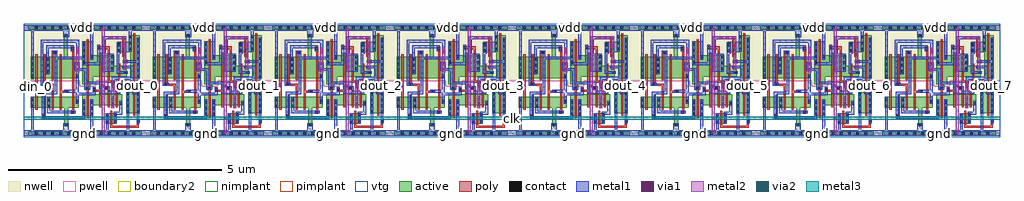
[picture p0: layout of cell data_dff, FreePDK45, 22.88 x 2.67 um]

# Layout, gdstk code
import gdstk
lib = gdstk.Library(unit=1e-6, precision=5e-10)
def R(c, l, rs):  # rectangles x0, y0, x1, y1
    for r in rs: c.add(gdstk.rectangle(r[:2], r[2:], *l))
def A(c, l, x, y, w, h, nx, ny, dx, dy):  # array of equal rectangles
    R(c, l, [(x+i*dx, y+j*dy, x+i*dx+w, y+j*dy+h) for i in range(nx) for j in range(ny)])
def P(c, l, *ps):  # polygons
    for p in ps: c.add(gdstk.Polygon(p, *l))
active = (1, 0)
pwell = (2, 0)
nwell = (3, 0)
nimplant = (4, 0)
pimplant = (5, 0)
vtg = (6, 0)
poly = (9, 0)
contact = (10, 0)
metal1 = (11, 0)
via1 = (12, 0)
metal2 = (13, 0)
via2 = (14, 0)
metal3 = (15, 0)
boundary2 = (239, 0)

dff = lib.new_cell('dff')
A(dff, active, 0.2675, 0.6, 0.05, 0.25, 4, 1, 0.19, 0)
A(dff, active, 0.3175, 0.6, 0.14, 0.25, 3, 1, 0.19, 0)
A(dff, active, 1.7675, 0.6575, 0.05, 0.25, 3, 1, 0.19, 0)
A(dff, active, 0.2675, 1.2925, 0.05, 0.5, 4, 1, 0.19, 0)
A(dff, active, 0.3175, 1.2925, 0.14, 0.5, 3, 1, 0.19, 0)
R(dff, active, [(0.1,-0.045,2.76,0.045), (1.9175,0.2225,2.0225,0.4725), (2.0225,0.2225,2.0725,0.4725), (2.0725,0.2225,2.1775,0.4725), (1.3675,0.4075,1.4725,0.9075), (1.4725,0.4075,1.5225,0.9075), (2.4025,0.4625,2.5575,0.9625), (2.5575,0.4625,2.6075,0.9625), (2.6075,0.4625,2.7125,0.9625), (0.1625,0.6,0.2675,0.85), (1.1325,0.6,1.1825,0.85), (1.1825,0.6,1.2875,0.85), (1.8175,0.6575,1.9575,0.9075), (2.0075,0.6575,2.1475,0.9075), (2.1975,0.6575,2.3075,0.9075), (1.3675,1.15,1.4725,2.15), (1.4725,1.15,1.5225,2.15), (0.1625,1.2925,0.2675,1.7925), (1.1325,1.2925,1.1825,1.7925), (1.1825,1.2925,1.2875,1.7925), (2.5575,1.2925,2.6075,2.2925), (2.6075,1.2925,2.7125,2.2925), (1.7675,1.3275,1.8175,1.8275), (1.8175,1.3275,1.9575,1.8275), (1.9575,1.3275,2.0075,1.8275), (2.2075,1.3275,2.2575,1.5775), (2.2575,1.3275,2.4075,1.5775), (2.1925,1.8925,2.2975,2.1425), (2.2975,1.8925,2.3475,2.1425), (0.1,2.425,2.76,2.515)])
P(dff, active, [(0.8875,1.2925),(0.8875,1.7925),(0.9375,1.7925),(0.9375,2.3225),(1.0275,2.3225),(1.0275,1.7925),(1.1325,1.7925),(1.1325,1.2925)],
  [(1.5225,1.15),(1.5225,2.15),(1.6275,2.15),(1.6275,1.8275),(1.7675,1.8275),(1.7675,1.3275),(1.6275,1.3275),(1.6275,1.15)],
  [(2.0075,1.3275),(2.0075,1.8275),(2.1125,1.8275),(2.1125,1.5775),(2.2075,1.5775),(2.2075,1.3275)],
  [(2.4875,1.2925),(2.4875,1.8925),(2.3475,1.8925),(2.3475,2.1425),(2.4525,2.1425),(2.4525,2.2925),(2.5575,2.2925),(2.5575,1.2925)],
  [(0.9475,0.165),(0.9475,0.6),(0.8875,0.6),(0.8875,0.85),(1.1325,0.85),(1.1325,0.6),(1.0375,0.6),(1.0375,0.165)],
  [(1.5225,0.4075),(1.5225,0.9075),(1.7675,0.9075),(1.7675,0.6575),(1.6275,0.6575),(1.6275,0.4075)])
P(dff, pwell, [(0,-0.1),(0,1.235),(1.3125,1.235),(1.3125,1.095),(1.6825,1.095),(1.6825,1.235),(2.86,1.235),(2.86,-0.1)])
P(dff, nwell, [(1.3125,1.095),(1.3125,1.235),(0,1.235),(0,2.57),(2.86,2.57),(2.86,1.235),(1.6825,1.235),(1.6825,1.095)])
A(dff, nimplant, 0.2675, 0.6, 0.05, 0.25, 4, 1, 0.19, 0)
A(dff, nimplant, 0.3175, 0.6, 0.14, 0.25, 3, 1, 0.19, 0)
A(dff, nimplant, 1.7675, 0.6575, 0.05, 0.25, 3, 1, 0.19, 0)
R(dff, nimplant, [(1.9175,0.2225,2.0225,0.4725), (2.0225,0.2225,2.0725,0.4725), (2.0725,0.2225,2.1775,0.4725), (1.3675,0.4075,1.4725,0.9075), (1.4725,0.4075,1.5225,0.9075), (2.4025,0.4625,2.5575,0.9625), (2.5575,0.4625,2.6075,0.9625), (2.6075,0.4625,2.7125,0.9625), (0.1625,0.6,0.2675,0.85), (1.1325,0.6,1.1825,0.85), (1.1825,0.6,1.2875,0.85), (1.8175,0.6575,1.9575,0.9075), (2.0075,0.6575,2.1475,0.9075), (2.1975,0.6575,2.3075,0.9075), (0.1,2.425,2.76,2.515)])
P(dff, nimplant, [(0.9475,0.165),(0.9475,0.6),(0.8875,0.6),(0.8875,0.85),(1.1325,0.85),(1.1325,0.6),(1.0375,0.6),(1.0375,0.165)],
  [(1.5225,0.4075),(1.5225,0.9075),(1.7675,0.9075),(1.7675,0.6575),(1.6275,0.6575),(1.6275,0.4075)])
A(dff, pimplant, 0.2675, 1.2925, 0.05, 0.5, 4, 1, 0.19, 0)
A(dff, pimplant, 0.3175, 1.2925, 0.14, 0.5, 3, 1, 0.19, 0)
R(dff, pimplant, [(0.1,-0.045,2.76,0.045), (1.3675,1.15,1.4725,2.15), (1.4725,1.15,1.5225,2.15), (0.1625,1.2925,0.2675,1.7925), (1.1325,1.2925,1.1825,1.7925), (1.1825,1.2925,1.2875,1.7925), (2.5575,1.2925,2.6075,2.2925), (2.6075,1.2925,2.7125,2.2925), (1.7675,1.3275,1.8175,1.8275), (1.8175,1.3275,1.9575,1.8275), (1.9575,1.3275,2.0075,1.8275), (2.2075,1.3275,2.2575,1.5775), (2.2575,1.3275,2.4075,1.5775), (2.1925,1.8925,2.2975,2.1425), (2.2975,1.8925,2.3475,2.1425)])
P(dff, pimplant, [(0.8875,1.2925),(0.8875,1.7925),(0.9375,1.7925),(0.9375,2.3225),(1.0275,2.3225),(1.0275,1.7925),(1.1325,1.7925),(1.1325,1.2925)],
  [(1.5225,1.15),(1.5225,2.15),(1.6275,2.15),(1.6275,1.8275),(1.7675,1.8275),(1.7675,1.3275),(1.6275,1.3275),(1.6275,1.15)],
  [(2.0075,1.3275),(2.0075,1.8275),(2.1125,1.8275),(2.1125,1.5775),(2.2075,1.5775),(2.2075,1.3275)],
  [(2.4875,1.2925),(2.4875,1.8925),(2.3475,1.8925),(2.3475,2.1425),(2.4525,2.1425),(2.4525,2.2925),(2.5575,2.2925),(2.5575,1.2925)])
R(dff, vtg, [(0,-0.1,2.86,2.57)])
A(dff, poly, 0.2675, 0.6, 0.05, 0.25, 4, 1, 0.19, 0)
A(dff, poly, 1.7675, 0.6025, 0.05, 0.055, 3, 1, 0.19, 0)
A(dff, poly, 1.7675, 0.6575, 0.05, 0.25, 3, 1, 0.19, 0)
A(dff, poly, 0.2675, 1.2925, 0.05, 0.5, 4, 1, 0.19, 0)
R(dff, poly, [(2.0225,0.2225,2.0725,0.4725), (1.4725,0.3525,1.5225,0.4075), (1.4725,0.4075,1.5225,0.9075), (2.5575,0.4075,2.6075,0.4625), (2.5575,0.4625,2.6075,0.9625), (2.0225,0.4725,2.0725,0.5275), (0.2675,0.545,0.3175,0.6), (0.6475,0.545,0.6975,0.6), (0.8375,0.545,0.8875,0.6), (1.1325,0.6,1.1825,0.85), (0.4575,0.85,0.5075,0.905), (1.1325,0.85,1.1825,1.2925), (1.4725,1.15,1.5225,2.15), (0.6475,1.2375,0.6975,1.2925), (1.1325,1.2925,1.1825,1.7925), (2.5575,1.2925,2.6075,2.2925), (1.7675,1.3275,1.8175,1.8275), (1.9575,1.3275,2.0075,1.8275), (2.2075,1.3275,2.2575,1.5775), (2.2075,1.5775,2.2575,1.6325), (0.2675,1.7925,0.3175,1.8475), (0.4575,1.7925,0.5075,1.8475), (0.8375,1.7925,0.8875,1.8475), (1.7675,1.8275,1.8175,1.8825), (2.2975,1.8925,2.3475,2.1425), (2.2975,2.1425,2.3475,2.1975), (1.4725,2.15,1.5225,2.205), (2.5575,2.2925,2.6075,2.3475)])
P(dff, poly, [(0.2675,0.85),(0.2675,1.0675),(0.2425,1.0675),(0.2425,1.1425),(0.2675,1.1425),(0.2675,1.2925),(0.3175,1.2925),(0.3175,0.85)],
  [(0.4125,0.365),(0.4125,0.44),(0.4575,0.44),(0.4575,0.6),(0.5075,0.6),(0.5075,0.365)],
  [(0.6475,1.7925),(0.6475,1.9325),(0.7525,1.9325),(0.7525,1.8575),(0.6975,1.8575),(0.6975,1.7925)],
  [(0.6475,0.85),(0.6475,1.1125),(0.4325,1.1125),(0.4325,1.1875),(0.4575,1.1875),(0.4575,1.2925),(0.5075,1.2925),(0.5075,1.1625),(0.6975,1.1625),(0.6975,0.85)],
  [(0.8375,0.85),(0.8375,1.2925),(0.8875,1.2925),(0.8875,0.995),(0.9725,0.995),(0.9725,1.02),(1.0475,1.02),(1.0475,0.945),(0.8875,0.945),(0.8875,0.85)],
  [(1.1325,1.7925),(1.1325,1.9525),(1.0925,1.9525),(1.0925,2.0275),(1.1825,2.0275),(1.1825,1.7925)],
  [(1.1075,0.46),(1.1075,0.535),(1.1325,0.535),(1.1325,0.6),(1.1825,0.6),(1.1825,0.46)],
  [(1.4725,0.9075),(1.4725,1.01),(1.4425,1.01),(1.4425,1.085),(1.4725,1.085),(1.4725,1.15),(1.5225,1.15),(1.5225,0.9075)],
  [(1.7675,0.9075),(1.7675,0.9725),(1.6075,0.9725),(1.6075,1.0475),(1.6825,1.0475),(1.6825,1.0225),(1.7675,1.0225),(1.7675,1.3275),(1.8175,1.3275),(1.8175,0.9075)],
  [(1.9575,1.8275),(1.9575,1.9675),(1.7125,1.9675),(1.7125,2.0425),(2.0075,2.0425),(2.0075,1.8275)],
  [(1.9575,0.9075),(1.9575,1.0225),(1.9025,1.0225),(1.9025,1.0975),(2.0075,1.0975),(2.0075,0.9075)],
  [(2.3425,1.6425),(2.3425,1.7925),(2.2975,1.7925),(2.2975,1.8925),(2.3475,1.8925),(2.3475,1.8425),(2.3925,1.8425),(2.3925,1.7175),(2.4175,1.7175),(2.4175,1.6425)],
  [(2.2075,1.1225),(2.2075,1.3275),(2.2575,1.3275),(2.2575,1.1975),(2.2925,1.1975),(2.2925,1.1225)],
  [(2.0225,0.1225),(2.0225,0.2225),(2.0725,0.2225),(2.0725,0.1725),(2.6375,0.1725),(2.6375,0.3225),(2.7125,0.3225),(2.7125,0.2475),(2.6875,0.2475),(2.6875,0.1225)],
  [(2.1475,0.9075),(2.1475,0.9875),(2.0825,0.9875),(2.0825,1.1825),(1.9575,1.1825),(1.9575,1.3275),(2.0075,1.3275),(2.0075,1.2325),(2.1325,1.2325),(2.1325,1.0375),(2.1975,1.0375),(2.1975,0.9075)],
  [(2.5575,0.9625),(2.5575,1.0875),(2.3975,1.0875),(2.3975,1.1625),(2.4725,1.1625),(2.4725,1.1375),(2.5575,1.1375),(2.5575,1.2925),(2.6075,1.2925),(2.6075,0.9625)])
A(dff, contact, 0.2575, -0.0325, 0.065, 0.065, 13, 2, 0.19, 2.475)
A(dff, contact, 1.3725, 0.4125, 0.065, 0.065, 1, 3, 0, 0.14)
A(dff, contact, 1.5575, 0.4125, 0.065, 0.065, 1, 3, 0, 0.14)
A(dff, contact, 2.4075, 0.4675, 0.065, 0.065, 1, 4, 0, 0.14)
A(dff, contact, 2.6425, 0.4675, 0.065, 0.065, 1, 4, 0, 0.14)
A(dff, contact, 2.6425, 1.2975, 0.065, 0.065, 1, 7, 0, 0.14)
A(dff, contact, 0.1675, 1.3025, 0.065, 0.065, 1, 4, 0, 0.14)
A(dff, contact, 0.5425, 1.4175, 0.065, 0.065, 1, 3, 0, 0.14)
A(dff, contact, 2.0425, 1.4775, 0.065, 0.065, 1, 3, 0, 0.14)
A(dff, contact, 1.3725, 1.6275, 0.065, 0.065, 1, 4, 0, 0.14)
A(dff, contact, 2.4575, 1.9425, 0.065, 0.065, 1, 3, 0, 0.14)
R(dff, contact, [(0.9525,0.17,1.0175,0.235), (1.9225,0.2275,1.9875,0.2925), (2.6425,0.2525,2.7075,0.3175), (2.1075,0.2625,2.1725,0.3275), (1.9225,0.3675,1.9875,0.4325), (0.4175,0.37,0.4825,0.435), (2.1075,0.4025,2.1725,0.4675), (1.1125,0.465,1.1775,0.53), (0.1675,0.605,0.2325,0.67), (0.5475,0.605,0.6125,0.67), (2.0475,0.6625,2.1125,0.7275), (2.2375,0.6625,2.3025,0.7275), (1.2175,0.72,1.2825,0.785), (0.1675,0.745,0.2325,0.81), (0.5475,0.745,0.6125,0.81), (0.9775,0.95,1.0425,1.015), (1.6125,0.9775,1.6775,1.0425), (1.4475,1.015,1.5125,1.08), (1.9075,1.0275,1.9725,1.0925), (0.2475,1.0725,0.3125,1.1375), (2.4025,1.0925,2.4675,1.1575), (0.4375,1.1175,0.5025,1.1825), (2.2225,1.1275,2.2875,1.1925), (1.2175,1.2975,1.2825,1.3625), (2.3375,1.3875,2.4025,1.4525), (2.3475,1.6475,2.4125,1.7125), (1.5575,1.7575,1.6225,1.8225), (0.6825,1.8625,0.7475,1.9275), (2.1975,1.8975,2.2625,1.9625), (1.0975,1.9575,1.1625,2.0225), (1.7175,1.9725,1.7825,2.0375), (2.1975,2.0375,2.2625,2.1025), (0.9575,2.2525,1.0225,2.3175)])
R(dff, metal1, [(0,-0.065,2.86,0.065), (0,-0.065,2.86,0.065), (0,-0.065,2.86,0.065), (2.0475,0.5875,2.1125,0.8625), (2.6425,0.915,2.7075,1.1275), (1.7775,0.9275,1.9725,1.2075), (0.245,1.0375,0.3225,1.1725), (2.6325,1.0475,2.71,1.1825), (2.3275,1.7775,2.3925,2.1275), (0,2.405,2.76,2.535), (0,2.405,2.76,2.535), (0,2.405,2.76,2.535)])
P(dff, metal1, [(0.1675,1.2675),(0.1675,2.405),(0.1,2.405),(0.1,2.535),(2.86,2.535),(2.86,2.405),(2.5225,2.405),(2.5225,1.9075),(2.4575,1.9075),(2.4575,2.405),(1.6225,2.405),(1.6225,1.7225),(1.5575,1.7225),(1.5575,2.405),(1.0575,2.405),(1.0575,2.2525),(0.9225,2.2525),(0.9225,2.405),(0.2325,2.405),(0.2325,1.2675)],
  [(0.1,-0.065),(0.1,0.065),(0.1675,0.065),(0.1675,0.845),(0.2325,0.845),(0.2325,0.065),(0.9175,0.065),(0.9175,0.235),(1.0525,0.235),(1.0525,0.065),(1.5575,0.065),(1.5575,0.7925),(1.6225,0.7925),(1.6225,0.065),(1.9225,0.065),(1.9225,0.4675),(1.9875,0.4675),(1.9875,0.065),(2.4075,0.065),(2.4075,0.9875),(2.4725,0.9875),(2.4725,0.065),(2.76,0.065),(2.76,-0.065)],
  [(0.4175,0.335),(0.4175,0.975),(0.7175,0.975),(0.7175,1.8625),(0.6475,1.8625),(0.6475,1.9275),(0.7825,1.9275),(0.7825,1.7975),(1.3725,1.7975),(1.3725,2.1475),(1.4375,2.1475),(1.4375,1.6575),(1.7175,1.6575),(1.7175,2.0725),(1.7825,2.0725),(1.7825,1.5925),(1.3725,1.5925),(1.3725,1.7325),(0.7825,1.7325),(0.7825,0.91),(0.4825,0.91),(0.4825,0.4),(1.3725,0.4),(1.3725,0.7925),(1.4375,0.7925),(1.4375,0.335)],
  [(1.7775,0.9275),(1.7775,1.1425),(1.5475,1.1425),(1.5475,1.015),(1.4125,1.015),(1.4125,1.4625),(1.1725,1.4625),(1.1725,1.6675),(1.3075,1.6675),(1.3075,1.5275),(1.4775,1.5275),(1.4775,1.2075),(1.9725,1.2075),(1.9725,0.9925),(2.1875,0.9925),(2.1875,1.1925),(2.3225,1.1925),(2.3225,1.1275),(2.2525,1.1275),(2.2525,0.9275)],
  [(0.3875,1.1175),(0.3875,2.1875),(1.2925,2.1875),(1.2925,1.8625),(1.2275,1.8625),(1.2275,2.1225),(0.4525,2.1225),(0.4525,1.1825),(0.5375,1.1825),(0.5375,1.1175)],
  [(0.5175,1.3825),(0.5175,2.0575),(1.1625,2.0575),(1.1625,1.9225),(1.0975,1.9225),(1.0975,1.9925),(0.5825,1.9925),(0.5825,1.7975),(0.6075,1.7975),(0.6075,1.3825)],
  [(0.5475,0.465),(0.5475,0.845),(0.6125,0.845),(0.6125,0.53),(1.2125,0.53),(1.2125,0.465)],
  [(1.2175,0.685),(1.2175,0.95),(0.9425,0.95),(0.9425,1.015),(1.2175,1.015),(1.2175,1.3975),(1.2825,1.3975),(1.2825,0.95),(1.6125,0.95),(1.6125,1.0775),(1.6775,1.0775),(1.6775,0.885),(1.2825,0.885),(1.2825,0.685)],
  [(1.8475,1.4425),(1.8475,2.2675),(2.3925,2.2675),(2.3925,2.2025),(1.9125,2.2025),(1.9125,1.8575),(2.1075,1.8575),(2.1075,1.4425)],
  [(2.0525,1.0575),(2.0525,1.3225),(2.5025,1.3225),(2.5025,1.5175),(2.3025,1.5175),(2.3025,1.5825),(2.5675,1.5825),(2.5675,1.0575),(2.4025,1.0575),(2.4025,1.1925),(2.5025,1.1925),(2.5025,1.2575),(2.1175,1.2575),(2.1175,1.0575)],
  [(2.1725,1.3875),(2.1725,2.1375),(2.2625,2.1375),(2.2625,1.8625),(2.2375,1.8625),(2.2375,1.4525),(2.4375,1.4525),(2.4375,1.3875)],
  [(2.6425,0.2175),(2.6425,0.9175),(2.5375,0.9175),(2.5375,0.9825),(2.6425,0.9825),(2.6425,1.6475),(2.3125,1.6475),(2.3125,1.7125),(2.6425,1.7125),(2.6425,2.2375),(2.7075,2.2375),(2.7075,0.2175)],
  [(2.1075,0.2275),(2.1075,0.5025),(2.2375,0.5025),(2.2375,0.7625),(2.3025,0.7625),(2.3025,0.4375),(2.1725,0.4375),(2.1725,0.2275)])
A(dff, via1, 2.0125, 2.2025, 0.065, 0.065, 3, 1, 0.14, 0)
R(dff, via1, [(2.0475,0.6225,2.1125,0.6875), (2.0475,0.7625,2.1125,0.8275), (0.2475,1.0725,0.3125,1.1375), (1.825,1.0725,1.89,1.1375), (2.64,1.0825,2.705,1.1475), (2.0525,1.0925,2.1175,1.1575), (1.2075,1.4625,1.2725,1.5275), (2.3375,1.5175,2.4025,1.5825), (1.2075,1.6025,1.2725,1.6675), (2.3275,1.8125,2.3925,1.8775), (1.2275,1.8975,1.2925,1.9625), (2.3275,2.0275,2.3925,2.0925)])
R(dff, metal2, [(2.0475,0.5875,2.1175,1.1925), (0.245,1.0375,0.3225,1.1725), (0.245,1.0375,0.3225,1.1725), (0.245,1.0375,0.3225,1.1725), (1.82,1.0375,1.8975,1.1725), (1.82,1.0375,1.8975,1.1725), (1.82,1.0375,1.8975,1.1725), (2.6325,1.0475,2.71,1.1825), (2.6325,1.0475,2.71,1.1825), (2.6325,1.0475,2.71,1.1825)])
P(dff, metal2, [(1.2075,1.4275),(1.2075,1.7025),(1.2225,1.7025),(1.2225,1.9975),(1.2925,1.9975),(1.2925,1.4275)],
  [(2.3225,1.9925),(2.3225,2.1975),(1.9775,2.1975),(1.9775,2.2675),(2.3925,2.2675),(2.3925,1.9925)],
  [(2.3325,1.4825),(2.3325,1.7775),(2.3275,1.7775),(2.3275,1.9125),(2.4025,1.9125),(2.4025,1.4825)])
R(dff, boundary2, [(0,0,2.86,2.475)])
dff.add(gdstk.Label('clk', (1.865,1.15), layer=13, texttype=0))
dff.add(gdstk.Label('D', (0.295,1.15), layer=13, texttype=0))
dff.add(gdstk.Label('Q', (2.685,1.1), layer=13, texttype=0))
dff.add(gdstk.Label('D', (0.284,1.105), layer=13, texttype=0))
dff.add(gdstk.Label('Q', (2.671,1.115), layer=13, texttype=0))
dff.add(gdstk.Label('clk', (1.859,1.105), layer=13, texttype=0))
dff.add(gdstk.Label('vdd', (2.035,2.5325), layer=11, texttype=0))
dff.add(gdstk.Label('gnd', (1.645,0.0425), layer=11, texttype=0))
dff.add(gdstk.Label('vdd', (1.38,2.47), layer=11, texttype=0))
dff.add(gdstk.Label('gnd', (1.43,0), layer=11, texttype=0))

contact_6 = lib.new_cell('contact_6')
R(contact_6, metal1, [(0,0.035,0.135,0.1)])
R(contact_6, via1, [(0.035,0.035,0.1,0.1)])
R(contact_6, metal2, [(0.0325,0,0.1025,0.135)])
R(contact_6, boundary2, [(0,0,0.135,0.135)])

contact_7 = lib.new_cell('contact_7')
R(contact_7, metal2, [(0.035,0,0.105,0.14)])
R(contact_7, via2, [(0.035,0.035,0.105,0.105)])
R(contact_7, metal3, [(0,0.035,0.14,0.105)])
R(contact_7, boundary2, [(0,0,0.14,0.14)])

data_dff = lib.new_cell('data_dff')
A(data_dff, metal2, 1.82, 0, 0.07, 2.475, 8, 1, 2.86, 0)
A(data_dff, metal2, 0.245, 1.0375, 0.0775, 0.135, 8, 1, 2.86, 0)
A(data_dff, metal2, 2.6325, 1.0475, 0.0775, 0.135, 8, 1, 2.86, 0)
A(data_dff, metal3, 1.36, -0.07, 0.14, 0.14, 8, 1, 2.86, 0)
A(data_dff, metal3, 1.31, 2.4, 0.14, 0.14, 8, 1, 2.86, 0)
R(data_dff, metal3, [(0,0.315,22.88,0.385)])
R(data_dff, boundary2, [(0,0,22.88,2.475)])
data_dff.add(gdstk.Reference(dff, (0,0)))
data_dff.add(gdstk.Reference(dff, (2.86,0)))
data_dff.add(gdstk.Reference(dff, (5.72,0)))
data_dff.add(gdstk.Reference(dff, (8.58,0)))
data_dff.add(gdstk.Reference(dff, (11.44,0)))
data_dff.add(gdstk.Reference(dff, (14.3,0)))
data_dff.add(gdstk.Reference(dff, (17.16,0)))
data_dff.add(gdstk.Reference(dff, (20.02,0)))
data_dff.add(gdstk.Reference(contact_6, (1.3125,2.4025)))
data_dff.add(gdstk.Reference(contact_7, (1.31,2.4)))
data_dff.add(gdstk.Reference(contact_6, (1.3625,-0.0675)))
data_dff.add(gdstk.Reference(contact_7, (1.36,-0.07)))
data_dff.add(gdstk.Reference(contact_6, (4.1725,2.4025)))
data_dff.add(gdstk.Reference(contact_7, (4.17,2.4)))
data_dff.add(gdstk.Reference(contact_6, (4.2225,-0.0675)))
data_dff.add(gdstk.Reference(contact_7, (4.22,-0.07)))
data_dff.add(gdstk.Reference(contact_6, (7.0325,2.4025)))
data_dff.add(gdstk.Reference(contact_7, (7.03,2.4)))
data_dff.add(gdstk.Reference(contact_6, (7.0825,-0.0675)))
data_dff.add(gdstk.Reference(contact_7, (7.08,-0.07)))
data_dff.add(gdstk.Reference(contact_6, (9.8925,2.4025)))
data_dff.add(gdstk.Reference(contact_7, (9.89,2.4)))
data_dff.add(gdstk.Reference(contact_6, (9.9425,-0.0675)))
data_dff.add(gdstk.Reference(contact_7, (9.94,-0.07)))
data_dff.add(gdstk.Reference(contact_6, (12.7525,2.4025)))
data_dff.add(gdstk.Reference(contact_7, (12.75,2.4)))
data_dff.add(gdstk.Reference(contact_6, (12.8025,-0.0675)))
data_dff.add(gdstk.Reference(contact_7, (12.8,-0.07)))
data_dff.add(gdstk.Reference(contact_6, (15.6125,2.4025)))
data_dff.add(gdstk.Reference(contact_7, (15.61,2.4)))
data_dff.add(gdstk.Reference(contact_6, (15.6625,-0.0675)))
data_dff.add(gdstk.Reference(contact_7, (15.66,-0.07)))
data_dff.add(gdstk.Reference(contact_6, (18.4725,2.4025)))
data_dff.add(gdstk.Reference(contact_7, (18.47,2.4)))
data_dff.add(gdstk.Reference(contact_6, (18.5225,-0.0675)))
data_dff.add(gdstk.Reference(contact_7, (18.52,-0.07)))
data_dff.add(gdstk.Reference(contact_6, (21.3325,2.4025)))
data_dff.add(gdstk.Reference(contact_7, (21.33,2.4)))
data_dff.add(gdstk.Reference(contact_6, (21.3825,-0.0675)))
data_dff.add(gdstk.Reference(contact_7, (21.38,-0.07)))
data_dff.add(gdstk.Reference(contact_7, (1.79,0.28)))
data_dff.add(gdstk.Reference(contact_7, (4.65,0.28)))
data_dff.add(gdstk.Reference(contact_7, (7.51,0.28)))
data_dff.add(gdstk.Reference(contact_7, (10.37,0.28)))
data_dff.add(gdstk.Reference(contact_7, (13.23,0.28)))
data_dff.add(gdstk.Reference(contact_7, (16.09,0.28)))
data_dff.add(gdstk.Reference(contact_7, (18.95,0.28)))
data_dff.add(gdstk.Reference(contact_7, (21.81,0.28)))
data_dff.add(gdstk.Label('din_0', (0.284,1.105), layer=13, texttype=0))
data_dff.add(gdstk.Label('dout_0', (2.671,1.115), layer=13, texttype=0))
data_dff.add(gdstk.Label('din_1', (3.144,1.105), layer=13, texttype=0))
data_dff.add(gdstk.Label('dout_1', (5.531,1.115), layer=13, texttype=0))
data_dff.add(gdstk.Label('din_2', (6.004,1.105), layer=13, texttype=0))
data_dff.add(gdstk.Label('dout_2', (8.391,1.115), layer=13, texttype=0))
data_dff.add(gdstk.Label('din_3', (8.864,1.105), layer=13, texttype=0))
data_dff.add(gdstk.Label('dout_3', (11.251,1.115), layer=13, texttype=0))
data_dff.add(gdstk.Label('din_4', (11.724,1.105), layer=13, texttype=0))
data_dff.add(gdstk.Label('dout_4', (14.111,1.115), layer=13, texttype=0))
data_dff.add(gdstk.Label('din_5', (14.584,1.105), layer=13, texttype=0))
data_dff.add(gdstk.Label('dout_5', (16.971,1.115), layer=13, texttype=0))
data_dff.add(gdstk.Label('din_6', (17.444,1.105), layer=13, texttype=0))
data_dff.add(gdstk.Label('dout_6', (19.831,1.115), layer=13, texttype=0))
data_dff.add(gdstk.Label('din_7', (20.304,1.105), layer=13, texttype=0))
data_dff.add(gdstk.Label('dout_7', (22.691,1.115), layer=13, texttype=0))
data_dff.add(gdstk.Label('vdd', (12.82,2.47), layer=15, texttype=0))
data_dff.add(gdstk.Label('vdd', (18.54,2.47), layer=15, texttype=0))
data_dff.add(gdstk.Label('vdd', (15.68,2.47), layer=15, texttype=0))
data_dff.add(gdstk.Label('vdd', (7.1,2.47), layer=15, texttype=0))
data_dff.add(gdstk.Label('vdd', (1.38,2.47), layer=15, texttype=0))
data_dff.add(gdstk.Label('vdd', (9.96,2.47), layer=15, texttype=0))
data_dff.add(gdstk.Label('vdd', (21.4,2.47), layer=15, texttype=0))
data_dff.add(gdstk.Label('vdd', (4.24,2.47), layer=15, texttype=0))
data_dff.add(gdstk.Label('gnd', (7.15,0), layer=15, texttype=0))
data_dff.add(gdstk.Label('gnd', (18.59,0), layer=15, texttype=0))
data_dff.add(gdstk.Label('gnd', (10.01,0), layer=15, texttype=0))
data_dff.add(gdstk.Label('gnd', (21.45,0), layer=15, texttype=0))
data_dff.add(gdstk.Label('gnd', (15.73,0), layer=15, texttype=0))
data_dff.add(gdstk.Label('gnd', (4.29,0), layer=15, texttype=0))
data_dff.add(gdstk.Label('gnd', (1.43,0), layer=15, texttype=0))
data_dff.add(gdstk.Label('gnd', (12.87,0), layer=15, texttype=0))
data_dff.add(gdstk.Label('clk', (11.44,0.35), layer=15, texttype=0))

lib.write_gds('data_dff.gds')
